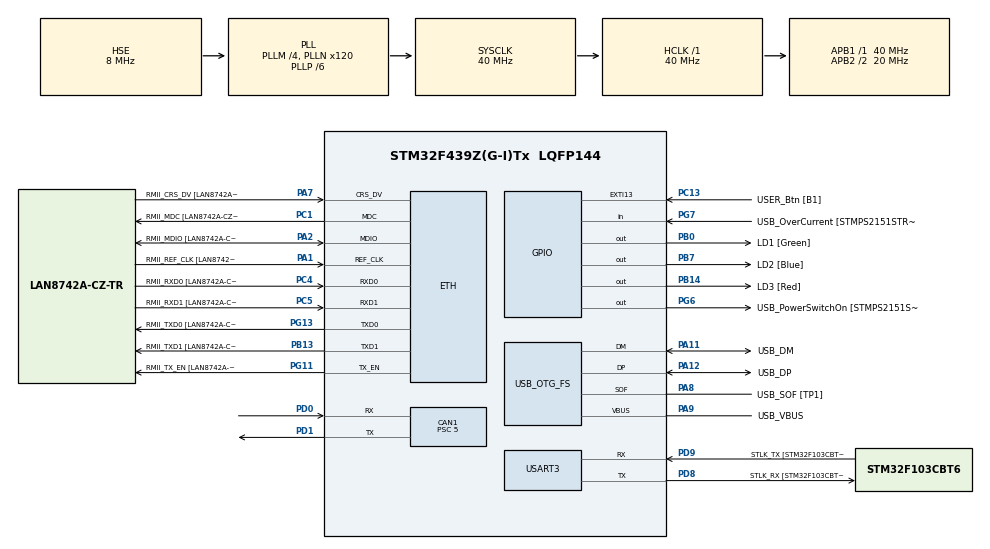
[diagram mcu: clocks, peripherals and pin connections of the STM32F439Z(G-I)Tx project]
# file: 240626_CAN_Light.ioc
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CAN1.BS1=CAN_BS1_12TQ
CAN1.BS2=CAN_BS2_3TQ
CAN1.CalculateBaudRate=500000
CAN1.CalculateTimeBit=2000
CAN1.CalculateTimeQuantum=125.0
CAN1.Prescaler=5
ETH.MediaInterface=HAL_ETH_RMII_MODE
ETH.PHY_Name=LAN8742A_PHY_ADDRESS
ETH.PHY_Value=0
ETH.PhyAddress=0
Mcu.Family=STM32F4
Mcu.Name=STM32F439Z(G-I)Tx
Mcu.Package=LQFP144
NVIC.PriorityGroup=NVIC_PRIORITYGROUP_4
PA1.GPIO_Label=RMII_REF_CLK [LAN8742A-CZ-TR_REFCLK0]
PA1.Mode=RMII
PA1.Signal=ETH_REF_CLK
PA11.GPIO_Label=USB_DM
PA11.Mode=Device_Only
PA11.Signal=USB_OTG_FS_DM
PA12.GPIO_Label=USB_DP
PA12.Mode=Device_Only
PA12.Signal=USB_OTG_FS_DP
PA13.GPIO_Label=TMS
PA13.Mode=Serial_Wire
PA13.Signal=SYS_JTMS-SWDIO
PA14.GPIO_Label=TCK
PA14.Mode=Serial_Wire
PA14.Signal=SYS_JTCK-SWCLK
PA2.GPIO_Label=RMII_MDIO [LAN8742A-CZ-TR_MDIO]
PA2.Mode=RMII
PA2.Signal=ETH_MDIO
PA7.GPIO_Label=RMII_CRS_DV [LAN8742A-CZ-TR_CRS_DV]
PA7.Mode=RMII
PA7.Signal=ETH_CRS_DV
PA8.GPIO_Label=USB_SOF [TP1]
PA8.Mode=Activate_SOF_FS
PA8.Signal=USB_OTG_FS_SOF
PA9.GPIO_Label=USB_VBUS
PA9.Mode=Activate_VBUS
PA9.Signal=USB_OTG_FS_VBUS
PB0.GPIO_Label=LD1 [Green]
PB0.Signal=GPIO_Output
PB13.GPIO_Label=RMII_TXD1 [LAN8742A-CZ-TR_TXD1]
PB13.Mode=RMII
PB13.Signal=ETH_TXD1
PB14.GPIO_Label=LD3 [Red]
PB14.Signal=GPIO_Output
PB7.GPIO_Label=LD2 [Blue]
PB7.Signal=GPIO_Output
PC1.GPIO_Label=RMII_MDC [LAN8742A-CZ-TR_MDC]
PC1.Mode=RMII
PC1.Signal=ETH_MDC
PC13.GPIO_Label=USER_Btn [B1]
PC13.Signal=GPXTI13
PC14/OSC32_IN.Mode=LSE-External-Oscillator
PC14/OSC32_IN.Signal=RCC_OSC32_IN
PC15/OSC32_OUT.Mode=LSE-External-Oscillator
PC15/OSC32_OUT.Signal=RCC_OSC32_OUT
PC4.GPIO_Label=RMII_RXD0 [LAN8742A-CZ-TR_RXD0]
PC4.Mode=RMII
PC4.Signal=ETH_RXD0
PC5.GPIO_Label=RMII_RXD1 [LAN8742A-CZ-TR_RXD1]
PC5.Mode=RMII
PC5.Signal=ETH_RXD1
PD0.Mode=CAN_Activate
PD0.Signal=CAN1_RX
PD1.Mode=CAN_Activate
PD1.Signal=CAN1_TX
PD8.GPIO_Label=STLK_RX [STM32F103CBT6_PA3]
PD8.Mode=Asynchronous
PD8.Signal=USART3_TX
PD9.GPIO_Label=STLK_TX [STM32F103CBT6_PA2]
PD9.Mode=Asynchronous
PD9.Signal=USART3_RX
PG11.GPIO_Label=RMII_TX_EN [LAN8742A-CZ-TR_TXEN]
PG11.Mode=RMII
PG11.Signal=ETH_TX_EN
PG13.GPIO_Label=RMII_TXD0 [LAN8742A-CZ-TR_TXD0]
PG13.Mode=RMII
PG13.Signal=ETH_TXD0
PG6.GPIO_Label=USB_PowerSwitchOn [STMPS2151STR_EN]
PG6.Signal=GPIO_Output
PG7.GPIO_Label=USB_OverCurrent [STMPS2151STR_FAULT]
PG7.Signal=GPIO_Input
PH0/OSC_IN.GPIO_Label=MCO [STM32F103CBT6_PA8]
PH0/OSC_IN.Mode=HSE-External-Clock-Source
PH0/OSC_IN.Signal=RCC_OSC_IN
PH1/OSC_OUT.Mode=HSE-External-Clock-Source
PH1/OSC_OUT.Signal=RCC_OSC_OUT
ProjectManager.HeapSize=0x200
ProjectManager.StackSize=0x400
ProjectManager.TargetToolchain=STM32CubeIDE
RCC.48MHZClocksFreq_Value=48000000
RCC.AHBFreq_Value=40000000
RCC.APB1Freq_Value=40000000
RCC.APB1TimFreq_Value=40000000
RCC.APB2CLKDivider=RCC_HCLK_DIV2
RCC.APB2Freq_Value=20000000
RCC.APB2TimCLKDivider=2
RCC.APB2TimFreq_Value=40000000
RCC.CortexFreq_Value=40000000
RCC.HCLKFreq_Value=40000000
RCC.HSE_VALUE=8000000
RCC.HSI_VALUE=16000000
RCC.PLLM=4
RCC.PLLMUL=RCC_PLL_MUL9
RCC.PLLN=120
RCC.PLLP=RCC_PLLP_DIV6
RCC.PLLQ=5
RCC.PRESCALERUSB=RCC_USBCLKSOURCE_PLL_DIV1_5
RCC.SYSCLKFreq_VALUE=40000000
RCC.SYSCLKSource=RCC_SYSCLKSOURCE_PLLCLK
RCC.SYSCLKSourceVirtual=RCC_SYSCLKSOURCE_PLLCLK
RCC.USBFreq_Value=48000000
RCC.VCOOutputFreq_Value=240000000
USART3.VirtualMode=VM_ASYNC
USB_OTG_FS.VirtualMode=Device_Only
board=NUCLEO-F439ZI

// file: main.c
/* USER CODE BEGIN Header */
/**
  ******************************************************************************
  * @file           : main.c
  * @brief          : Main program body
  ******************************************************************************
  * @attention
  *
  * Copyright (c) 2026 STMicroelectronics.
  * All rights reserved.
  *
  * This software is licensed under terms that can be found in the LICENSE file
  * in the root directory of this software component.
  * If no LICENSE file comes with this software, it is provided AS-IS.
  *
  ******************************************************************************
  */
/* USER CODE END Header */
#include "main.h"
#include "string.h"

ETH_TxPacketConfig TxConfig;
ETH_DMADescTypeDef  DMARxDscrTab[ETH_RX_DESC_CNT]; /* Ethernet Rx DMA Descriptors */
ETH_DMADescTypeDef  DMATxDscrTab[ETH_TX_DESC_CNT]; /* Ethernet Tx DMA Descriptors */

CAN_HandleTypeDef hcan1;

ETH_HandleTypeDef heth;

UART_HandleTypeDef huart3;

PCD_HandleTypeDef hpcd_USB_OTG_FS;

/* USER CODE BEGIN PV */
CAN_TxHeaderTypeDef pHeader;
CAN_RxHeaderTypeDef RxHeader;
uint8_t RxData[3] = {0};
uint8_t TxData[5] = {1, 2, 3, 6, 5};
uint32_t TxMailbox;
/* USER CODE END PV */

void SystemClock_Config(void);
static void MX_GPIO_Init(void);
static void MX_CAN1_Init(void);
static void MX_ETH_Init(void);
static void MX_USART3_UART_Init(void);
static void MX_USB_OTG_FS_PCD_Init(void);
/* USER CODE BEGIN PFP */
static void MX_CAN1_Filter_Config(void);
/* USER CODE END PFP */

int main(void)
{

  /* MCU Configuration--------------------------------------------------------*/

  /* Reset of all peripherals, Initializes the Flash interface and the Systick. */
  HAL_Init();

  /* Configure the system clock */
  SystemClock_Config();

  /* Initialize all configured peripherals */
  MX_GPIO_Init();
  MX_CAN1_Init();
  MX_ETH_Init();
  MX_USART3_UART_Init();
  MX_USB_OTG_FS_PCD_Init();
  /* USER CODE BEGIN 2 */

  MX_CAN1_Filter_Config();

  pHeader.DLC = 5;
  pHeader.StdId = 0x123;
  pHeader.ExtId = 0x00;
  pHeader.IDE = CAN_ID_STD;
  pHeader.RTR = CAN_RTR_DATA;
  pHeader.TransmitGlobalTime = DISABLE;

  HAL_CAN_Start(&hcan1);

  if (HAL_CAN_ActivateNotification(&hcan1, CAN_IT_TX_MAILBOX_EMPTY) != HAL_OK)
  {
   Error_Handler();
  }

  /* USER CODE END 2 */

  /* Infinite loop */
  /* USER CODE BEGIN WHILE */
  while (1)
  {
	  if (HAL_CAN_AddTxMessage(&hcan1, &pHeader, TxData, &TxMailbox) == HAL_OK)
 	{
  		while (HAL_CAN_IsTxMessagePending(&hcan1, TxMailbox));
  	}
	  	if (HAL_CAN_GetRxFifoFillLevel(&hcan1, CAN_RX_FIFO0) > 0)
  	{
  		HAL_CAN_GetRxMessage(&hcan1, CAN_RX_FIFO0, &RxHeader, RxData);
  	}
	  	if (RxData[0] == 1){
	  		HAL_GPIO_WritePin(GPIOB, GPIO_PIN_0, GPIO_PIN_SET);
	}
	  	else if (RxData[0] == 0){
	  		HAL_GPIO_WritePin(GPIOB, GPIO_PIN_0, GPIO_PIN_RESET);
  	}
	  	if (RxData[1] == 1){
	  		HAL_GPIO_WritePin(GPIOB, GPIO_PIN_7, GPIO_PIN_SET);
	}
	  	else if (RxData[1] == 0){
	  		HAL_GPIO_WritePin(GPIOB, GPIO_PIN_7, GPIO_PIN_RESET);
	}
	  	if (RxData[2] == 1){
	  		HAL_GPIO_WritePin(GPIOB, GPIO_PIN_14, GPIO_PIN_SET);
	}
  	  	else if (RxData[2] == 0){
  	  		HAL_GPIO_WritePin(GPIOB, GPIO_PIN_14, GPIO_PIN_RESET);
  	}
  	HAL_Delay(200);

    /* USER CODE END WHILE */

  }
}

void SystemClock_Config(void)
{
  RCC_OscInitTypeDef RCC_OscInitStruct = {0};
  RCC_ClkInitTypeDef RCC_ClkInitStruct = {0};

  /** Configure the main internal regulator output voltage
  */
  __HAL_RCC_PWR_CLK_ENABLE();
  __HAL_PWR_VOLTAGESCALING_CONFIG(PWR_REGULATOR_VOLTAGE_SCALE3);

  /** Initializes the RCC Oscillators according to the specified parameters
  * in the RCC_OscInitTypeDef structure.
  */
  RCC_OscInitStruct.OscillatorType = RCC_OSCILLATORTYPE_HSE;
  RCC_OscInitStruct.HSEState = RCC_HSE_BYPASS;
  RCC_OscInitStruct.PLL.PLLState = RCC_PLL_ON;
  RCC_OscInitStruct.PLL.PLLSource = RCC_PLLSOURCE_HSE;
  RCC_OscInitStruct.PLL.PLLM = 4;
  RCC_OscInitStruct.PLL.PLLN = 120;
  RCC_OscInitStruct.PLL.PLLP = RCC_PLLP_DIV6;
  RCC_OscInitStruct.PLL.PLLQ = 5;
  if (HAL_RCC_OscConfig(&RCC_OscInitStruct) != HAL_OK)
  {
    Error_Handler();
  }

  /** Initializes the CPU, AHB and APB buses clocks
  */
  RCC_ClkInitStruct.ClockType = RCC_CLOCKTYPE_HCLK|RCC_CLOCKTYPE_SYSCLK
                              |RCC_CLOCKTYPE_PCLK1|RCC_CLOCKTYPE_PCLK2;
  RCC_ClkInitStruct.SYSCLKSource = RCC_SYSCLKSOURCE_PLLCLK;
  RCC_ClkInitStruct.AHBCLKDivider = RCC_SYSCLK_DIV1;
  RCC_ClkInitStruct.APB1CLKDivider = RCC_HCLK_DIV1;
  RCC_ClkInitStruct.APB2CLKDivider = RCC_HCLK_DIV2;

  if (HAL_RCC_ClockConfig(&RCC_ClkInitStruct, FLASH_LATENCY_1) != HAL_OK)
  {
    Error_Handler();
  }
}

static void MX_CAN1_Filter_Config(void)
{
  CAN_FilterTypeDef sFilterConfig;

  sFilterConfig.FilterBank = 0;
  sFilterConfig.FilterMode = CAN_FILTERMODE_IDMASK;
  sFilterConfig.FilterScale = CAN_FILTERSCALE_32BIT;
  sFilterConfig.FilterIdHigh = 0x0000;
  sFilterConfig.FilterIdLow = 0x0000;
  sFilterConfig.FilterMaskIdHigh = 0x0000;
  sFilterConfig.FilterMaskIdLow = 0x0000;
  sFilterConfig.FilterFIFOAssignment = CAN_RX_FIFO0;
  sFilterConfig.FilterActivation = ENABLE;

  HAL_CAN_ConfigFilter(&hcan1, &sFilterConfig);
}

static void MX_CAN1_Init(void)
{

  hcan1.Instance = CAN1;
  hcan1.Init.Prescaler = 5;
  hcan1.Init.Mode = CAN_MODE_NORMAL;
  hcan1.Init.SyncJumpWidth = CAN_SJW_1TQ;
  hcan1.Init.TimeSeg1 = CAN_BS1_12TQ;
  hcan1.Init.TimeSeg2 = CAN_BS2_3TQ;
  hcan1.Init.TimeTriggeredMode = DISABLE;
  hcan1.Init.AutoBusOff = ENABLE;
  hcan1.Init.AutoWakeUp = DISABLE;
  hcan1.Init.AutoRetransmission = ENABLE;
  hcan1.Init.ReceiveFifoLocked = DISABLE;
  hcan1.Init.TransmitFifoPriority = DISABLE;
  if (HAL_CAN_Init(&hcan1) != HAL_OK)
  {
    Error_Handler();
  }

}

static void MX_ETH_Init(void)
{

   static uint8_t MACAddr[6];

  heth.Instance = ETH;
  MACAddr[0] = 0x00;
  MACAddr[1] = 0x80;
  MACAddr[2] = 0xE1;
  MACAddr[3] = 0x00;
  MACAddr[4] = 0x00;
  MACAddr[5] = 0x00;
  heth.Init.MACAddr = &MACAddr[0];
  heth.Init.MediaInterface = HAL_ETH_RMII_MODE;
  heth.Init.TxDesc = DMATxDscrTab;
  heth.Init.RxDesc = DMARxDscrTab;
  heth.Init.RxBuffLen = 1524;

  if (HAL_ETH_Init(&heth) != HAL_OK)
  {
    Error_Handler();
  }

  memset(&TxConfig, 0 , sizeof(ETH_TxPacketConfig));
  TxConfig.Attributes = ETH_TX_PACKETS_FEATURES_CSUM | ETH_TX_PACKETS_FEATURES_CRCPAD;
  TxConfig.ChecksumCtrl = ETH_CHECKSUM_IPHDR_PAYLOAD_INSERT_PHDR_CALC;
  TxConfig.CRCPadCtrl = ETH_CRC_PAD_INSERT;

}

static void MX_USART3_UART_Init(void)
{

  huart3.Instance = USART3;
  huart3.Init.BaudRate = 115200;
  huart3.Init.WordLength = UART_WORDLENGTH_8B;
  huart3.Init.StopBits = UART_STOPBITS_1;
  huart3.Init.Parity = UART_PARITY_NONE;
  huart3.Init.Mode = UART_MODE_TX_RX;
  huart3.Init.HwFlowCtl = UART_HWCONTROL_NONE;
  huart3.Init.OverSampling = UART_OVERSAMPLING_16;
  if (HAL_UART_Init(&huart3) != HAL_OK)
  {
    Error_Handler();
  }

}

static void MX_USB_OTG_FS_PCD_Init(void)
{

  hpcd_USB_OTG_FS.Instance = USB_OTG_FS;
  hpcd_USB_OTG_FS.Init.dev_endpoints = 4;
  hpcd_USB_OTG_FS.Init.speed = PCD_SPEED_FULL;
  hpcd_USB_OTG_FS.Init.dma_enable = DISABLE;
  hpcd_USB_OTG_FS.Init.phy_itface = PCD_PHY_EMBEDDED;
  hpcd_USB_OTG_FS.Init.Sof_enable = ENABLE;
  hpcd_USB_OTG_FS.Init.low_power_enable = DISABLE;
  hpcd_USB_OTG_FS.Init.lpm_enable = DISABLE;
  hpcd_USB_OTG_FS.Init.vbus_sensing_enable = ENABLE;
  hpcd_USB_OTG_FS.Init.use_dedicated_ep1 = DISABLE;
  if (HAL_PCD_Init(&hpcd_USB_OTG_FS) != HAL_OK)
  {
    Error_Handler();
  }

}

static void MX_GPIO_Init(void)
{
  GPIO_InitTypeDef GPIO_InitStruct = {0};

  /* GPIO Ports Clock Enable */
  __HAL_RCC_GPIOC_CLK_ENABLE();
  __HAL_RCC_GPIOH_CLK_ENABLE();
  __HAL_RCC_GPIOA_CLK_ENABLE();
  __HAL_RCC_GPIOB_CLK_ENABLE();
  __HAL_RCC_GPIOD_CLK_ENABLE();
  __HAL_RCC_GPIOG_CLK_ENABLE();

  /*Configure GPIO pin Output Level */
  HAL_GPIO_WritePin(GPIOB, LD1_Pin|LD3_Pin|LD2_Pin, GPIO_PIN_RESET);

  /*Configure GPIO pin Output Level */
  HAL_GPIO_WritePin(USB_PowerSwitchOn_GPIO_Port, USB_PowerSwitchOn_Pin, GPIO_PIN_RESET);

  /*Configure GPIO pin : USER_Btn_Pin */
  GPIO_InitStruct.Pin = USER_Btn_Pin;
  GPIO_InitStruct.Mode = GPIO_MODE_IT_RISING;
  GPIO_InitStruct.Pull = GPIO_NOPULL;
  HAL_GPIO_Init(USER_Btn_GPIO_Port, &GPIO_InitStruct);

  /*Configure GPIO pins : LD1_Pin LD3_Pin LD2_Pin */
  GPIO_InitStruct.Pin = LD1_Pin|LD3_Pin|LD2_Pin;
  GPIO_InitStruct.Mode = GPIO_MODE_OUTPUT_PP;
  GPIO_InitStruct.Pull = GPIO_NOPULL;
  GPIO_InitStruct.Speed = GPIO_SPEED_FREQ_LOW;
  HAL_GPIO_Init(GPIOB, &GPIO_InitStruct);

  /*Configure GPIO pin : USB_PowerSwitchOn_Pin */
  GPIO_InitStruct.Pin = USB_PowerSwitchOn_Pin;
  GPIO_InitStruct.Mode = GPIO_MODE_OUTPUT_PP;
  GPIO_InitStruct.Pull = GPIO_NOPULL;
  GPIO_InitStruct.Speed = GPIO_SPEED_FREQ_LOW;
  HAL_GPIO_Init(USB_PowerSwitchOn_GPIO_Port, &GPIO_InitStruct);

  /*Configure GPIO pin : USB_OverCurrent_Pin */
  GPIO_InitStruct.Pin = USB_OverCurrent_Pin;
  GPIO_InitStruct.Mode = GPIO_MODE_INPUT;
  GPIO_InitStruct.Pull = GPIO_NOPULL;
  HAL_GPIO_Init(USB_OverCurrent_GPIO_Port, &GPIO_InitStruct);

}

void Error_Handler(void)
{
  __disable_irq();
  while (1)
  {
  }
}
